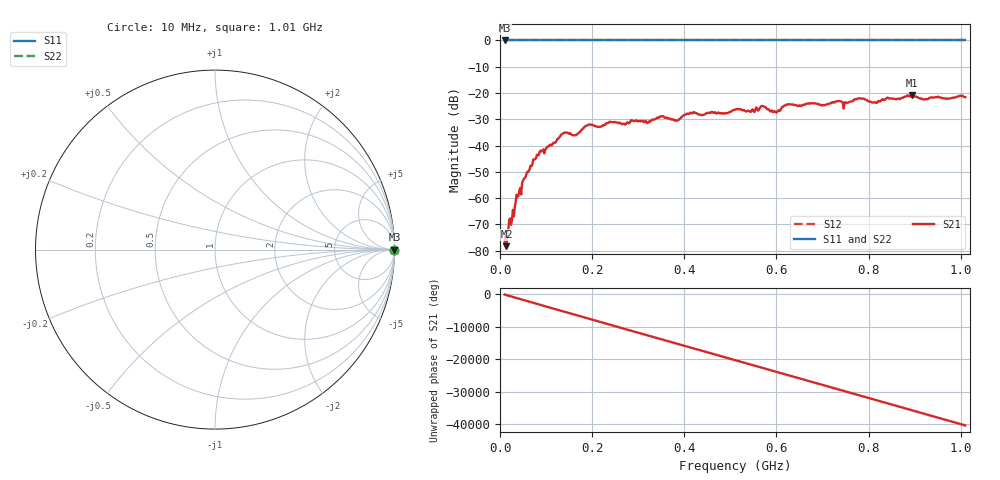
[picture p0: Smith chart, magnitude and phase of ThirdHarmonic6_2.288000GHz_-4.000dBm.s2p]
! 8/17/2025 3:00:53 AM
! C:\ANRITSUVNA\TEMP\TEMP.S2P
! CHANNEL.1
! TR.MEASUREMENT
! RAW.DATA
! RF.CORRECTION.OFF
! AVERAGING.OFF
! IF.BANDWIDTH: 5KHZ
! SWEEPTYPE:  FREQ.SWEEP(Linear)
! Reference Plane Port Info
! PORT:  PORT1  PORT2
! DISTANCE:  0  m  0  m
! TIME:  0  s  0  s
! PHASE.OFFSET:  0  deg.  0  deg.
! LOSS:  0  dB  0  dB
! REF.LOSS:  0  dB  0  dB
! REF.FREQ:  0  Hz  0  Hz
! Power Info
! POWER:  -20  dBm  -20  dBm
! EFF.POWER:  -20  dBm  -20  dBm
! SOURCE.ATTEN:  0  dB  0  dB
! TEST.ATTEN:  0  dB  0  dB
# GHZ S RI R 50.0
! FREQ.GHZ  S11RE  S11IM  S21RE  S21IM  S12RE  S12IM  S22RE  S22IM
!; PortSelection: Port_12
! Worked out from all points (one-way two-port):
!   501 points, 10 MHz to 1.01 GHz, reference 50 ohm
!   highest |S21| = -20.87 dB at 894 MHz (marker M1); lowest = -78.3 dB at 14 MHz (marker M2)
!   lowest |S11| = 0.0 dB at 10 MHz (marker M3)
!   |S11| at or under -10 dB: nowhere
!   |S22| runs from 0.0 to 0.0 dB; largest |S21 - S12| = 1.1
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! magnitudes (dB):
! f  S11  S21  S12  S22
! 10 MHz  0.0  -76.9  0.0  0.0
! 14 MHz  0.0  -78.3  0.0  0.0
! 40 MHz  0.0  -59.2  0.0  0.0
! 76 MHz  0.0  -45.2  0.0  0.0
! 136 MHz  0.0  -35.5  0.0  0.0
! 162 MHz  0.0  -36.1  0.0  0.0
! 178 MHz  0.0  -33.9  0.0  0.0
! 194 MHz  0.0  -31.9  0.0  0.0
! 322 MHz  0.0  -31.1  0.0  0.0
! 344 MHz  0.0  -29.5  0.0  0.0
! 384 MHz  0.0  -30.5  0.0  0.0
! 416 MHz  0.0  -27.8  0.0  0.0
! 510 MHz  0.0  -26.3  0.0  0.0
! 570 MHz  0.0  -24.9  0.0  0.0
! 596 MHz  0.0  -26.9  0.0  0.0
! 624 MHz  0.0  -24.4  0.0  0.0
! 678 MHz  0.0  -23.9  0.0  0.0
! 782 MHz  0.0  -22.0  0.0  0.0
! 814 MHz  0.0  -23.5  0.0  0.0
! 844 MHz  0.0  -22.0  0.0  0.0
! 894 MHz  0.0  -20.9  0.0  0.0
! 1.01 GHz  0.0  -21.6  0.0  0.0
